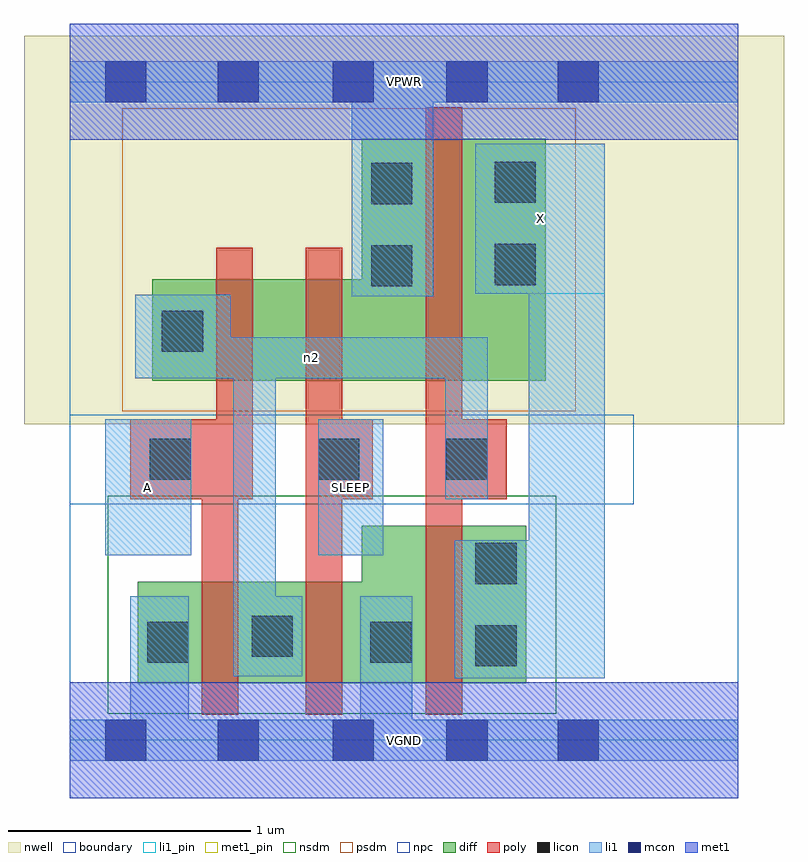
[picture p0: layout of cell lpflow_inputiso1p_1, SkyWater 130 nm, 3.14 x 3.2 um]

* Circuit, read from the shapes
.subckt lpflow_inputiso1p_1 A SLEEP VGND VPWR X n2
XM1 n2 A VGND VSUBS sky130_fd_pr__nfet_01v8 w=0.42 l=0.15
XM2 VGND SLEEP n2 VSUBS sky130_fd_pr__nfet_01v8 w=0.42 l=0.15
XM3 X n2 VGND VSUBS sky130_fd_pr__nfet_01v8 w=0.65 l=0.15
XM4 n1 A n2 n3 sky130_fd_pr__pfet_01v8 w=0.42 l=0.15
XM5 VPWR SLEEP n1 n3 sky130_fd_pr__pfet_01v8 w=0.42 l=0.15
XM6 X n2 VPWR n3 sky130_fd_pr__pfet_01v8 w=1 l=0.15
.ends

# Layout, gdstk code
import gdstk
lib = gdstk.Library(unit=1e-6, precision=1e-09)
def R(c, l, rs):  # rectangles x0, y0, x1, y1
    for r in rs: c.add(gdstk.rectangle(r[:2], r[2:], *l))
nwell = (64, 20)
diff = (65, 20)
poly = (66, 20)
licon = (66, 44)
li1_pin = (67, 16)
li1 = (67, 20)
mcon = (67, 44)
met1_pin = (68, 16)
met1 = (68, 20)
nsdm = (93, 44)
psdm = (94, 20)
npc = (95, 20)
boundary = (235, 4)

lpflow_inputiso1p_1 = lib.new_cell('lpflow_inputiso1p_1')
R(lpflow_inputiso1p_1, nwell, [(-0.19,1.305,2.95,2.91), (0,1.305,2.76,2.91)])
R(lpflow_inputiso1p_1, diff, [(0.28,0.235,1.885,0.655), (1.205,0.235,1.885,0.885), (0.34,1.485,1.965,1.905), (1.205,1.485,1.965,2.485)])
R(lpflow_inputiso1p_1, poly, [(0.545,0.105,0.695,1.325), (0.975,0.105,1.125,2.035), (1.47,0.105,1.62,2.615), (0.25,0.995,0.755,1.325), (0.605,0.995,0.755,2.035), (0.975,0.995,1.25,1.325), (1.47,0.995,1.805,1.325)])
R(lpflow_inputiso1p_1, licon, [(1.675,0.305,1.845,0.475), (0.32,0.32,0.49,0.49), (1.24,0.32,1.41,0.49), (0.75,0.345,0.92,0.515), (1.675,0.645,1.845,0.815), (0.33,1.075,0.5,1.245), (1.025,1.075,1.195,1.245), (1.555,1.075,1.725,1.245), (0.38,1.605,0.55,1.775), (1.245,1.875,1.415,2.045), (1.755,1.88,1.925,2.05), (1.245,2.215,1.415,2.385), (1.755,2.22,1.925,2.39)])
R(lpflow_inputiso1p_1, li1_pin, [(0.145,0.765,0.5,1.325), (1.025,0.765,1.295,1.325), (1.675,1.845,2.21,2.465)])
R(lpflow_inputiso1p_1, li1, [(0,-0.085,2.76,0.085), (0.25,-0.085,0.49,0.595), (1.2,-0.085,1.415,0.595), (1.59,0.255,2.21,0.825), (1.895,0.255,2.21,2.465), (0.675,0.265,0.85,1.665), (0.675,0.265,0.96,0.595), (0.145,0.765,0.5,1.325), (1.025,0.765,1.295,1.325), (1.55,0.995,1.725,1.665), (0.27,1.495,1.725,1.665), (0.27,1.495,0.665,1.84), (1.165,1.835,1.5,2.805), (1.675,1.845,2.21,2.465), (0,2.635,2.76,2.805)])
R(lpflow_inputiso1p_1, mcon, [(0.145,-0.085,0.315,0.085), (0.61,-0.085,0.78,0.085), (1.085,-0.085,1.255,0.085), (1.555,-0.085,1.725,0.085), (2.015,-0.085,2.185,0.085), (0.145,2.635,0.315,2.805), (0.61,2.635,0.78,2.805), (1.085,2.635,1.255,2.805), (1.555,2.635,1.725,2.805), (2.015,2.635,2.185,2.805)])
R(lpflow_inputiso1p_1, met1_pin, [(0,-0.24,2.76,0.24), (0,2.48,2.76,2.96)])
R(lpflow_inputiso1p_1, met1, [(0,-0.24,2.76,0.24), (0,2.48,2.76,2.96)])
R(lpflow_inputiso1p_1, nsdm, [(0.155,0.11,2.01,1.01)])
R(lpflow_inputiso1p_1, psdm, [(0.215,1.36,2.09,2.61)])
R(lpflow_inputiso1p_1, npc, [(0,0.975,2.33,1.345)])
R(lpflow_inputiso1p_1, boundary, [(0,0,2.76,2.72)])
lpflow_inputiso1p_1.add(gdstk.Label('A', (0.322,1.045), layer=67, texttype=5))
lpflow_inputiso1p_1.add(gdstk.Label('SLEEP', (1.16,1.045), layer=67, texttype=5))
lpflow_inputiso1p_1.add(gdstk.Label('X', (1.942,2.155), layer=67, texttype=5))
lpflow_inputiso1p_1.add(gdstk.Label('n2', (0.997,1.58), layer=67, texttype=5))
lpflow_inputiso1p_1.add(gdstk.Label('VPWR', (1.38,2.72), layer=68, texttype=5))
lpflow_inputiso1p_1.add(gdstk.Label('VGND', (1.38,0), layer=68, texttype=5))
lpflow_inputiso1p_1.add(gdstk.Label('A', (0.322,1.045), layer=67, texttype=16))
lpflow_inputiso1p_1.add(gdstk.Label('SLEEP', (1.16,1.045), layer=67, texttype=16))
lpflow_inputiso1p_1.add(gdstk.Label('X', (1.942,2.155), layer=67, texttype=16))
lpflow_inputiso1p_1.add(gdstk.Label('VPWR', (1.38,2.72), layer=68, texttype=16))
lpflow_inputiso1p_1.add(gdstk.Label('VGND', (1.38,0), layer=68, texttype=16))

lib.write_gds('lpflow_inputiso1p_1.gds')
